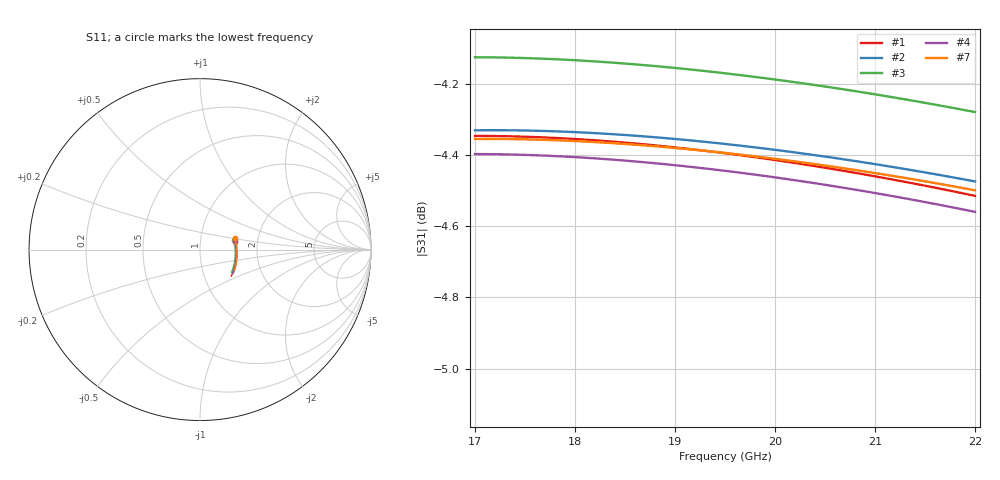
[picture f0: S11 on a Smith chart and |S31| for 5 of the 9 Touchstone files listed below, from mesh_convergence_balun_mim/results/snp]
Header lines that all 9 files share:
#  GHZ S DB R 50.0
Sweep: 17 GHz to 22 GHz
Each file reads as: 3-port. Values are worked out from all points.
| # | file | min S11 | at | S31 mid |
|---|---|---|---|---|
| 1 | trans_100diff_to_80se_ports.s3p | -13.5 dB | 17 GHz | -4.4 dB at 19.5 GHz |
| 2 | trans_100diff_to_80se_ports_amr2.s3p | -13.4 dB | 17.3 GHz | -4.4 dB at 19.5 GHz |
| 3 | trans_100diff_to_80se_ports_auto_mesh2.s3p | -13.8 dB | 17.5 GHz | -4.2 dB at 19.5 GHz |
| 4 | trans_100diff_to_80se_ports_filled_mesh2.s3p | -13.6 dB | 17 GHz | -4.4 dB at 19.5 GHz |
| 5 | trans_100diff_to_80se_ports_mesh1.s3p | -13.4 dB | 17.3 GHz | -4.4 dB at 19.5 GHz |
| 6 | trans_100diff_to_80se_ports_mesh2.s3p | -13.5 dB | 17 GHz | -4.4 dB at 19.5 GHz |
| 7 | trans_100diff_to_80se_ports_skin_mesh1.s3p | -13.4 dB | 17.2 GHz | -4.4 dB at 19.5 GHz |
| 8 | trans_100diff_to_80se_ports_skin_mesh2.s3p | -13.5 dB | 17 GHz | -4.4 dB at 19.5 GHz |
| 9 | trans_100diff_to_80se_ports_skin_mesh3.s3p | -13.5 dB | 17 GHz | -4.4 dB at 19.5 GHz |
